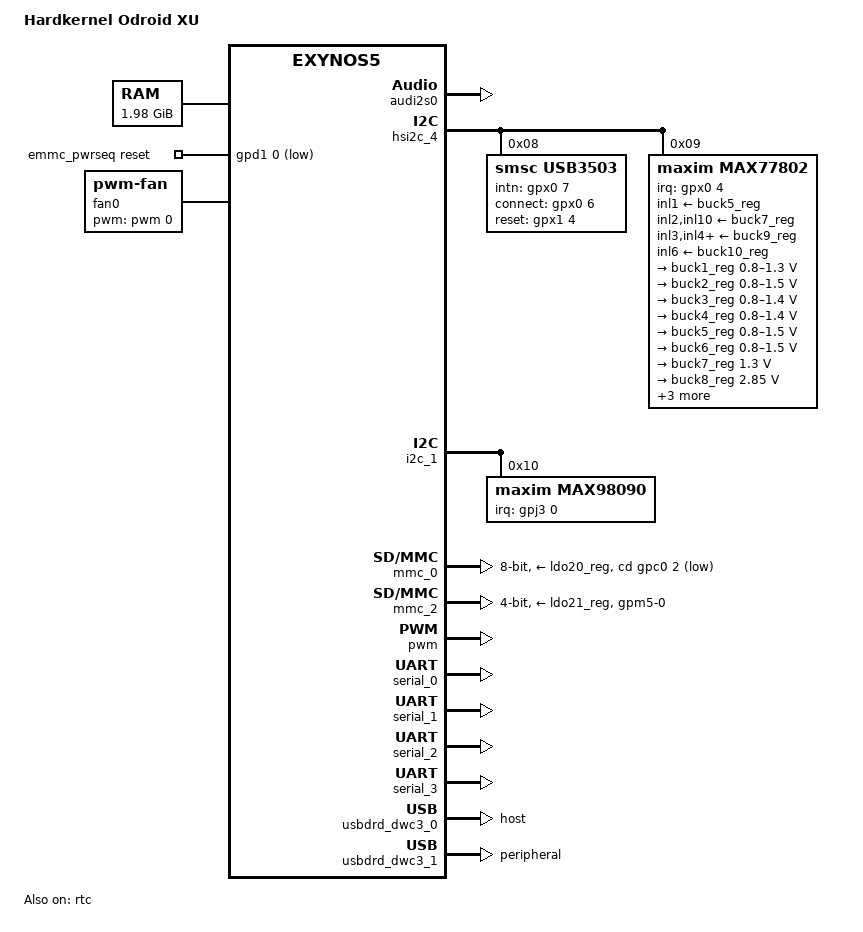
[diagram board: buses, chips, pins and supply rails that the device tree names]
// SPDX-License-Identifier: GPL-2.0
/*
 * Hardkernel Odroid XU board device tree source
 *
 * Copyright (c) 2013 Samsung Electronics Co., Ltd.
 *		http://www.samsung.com
 * Copyright (c) 2016 Krzysztof Kozlowski
 */

/dts-v1/;
#include "exynos5410.dtsi"
#include <dt-bindings/clock/maxim,max77802.h>
#include <dt-bindings/gpio/gpio.h>
#include <dt-bindings/interrupt-controller/irq.h>
#include <dt-bindings/sound/samsung-i2s.h>
#include "exynos54xx-odroidxu-leds.dtsi"

/ {
	model = "Hardkernel Odroid XU";
	compatible = "hardkernel,odroid-xu", "samsung,exynos5410", "samsung,exynos5";

	memory@40000000 {
		device_type = "memory";
		reg = <0x40000000 0x7ea00000>;
	};

	chosen {
		stdout-path = "serial2:115200n8";
	};

	emmc_pwrseq: pwrseq {
		pinctrl-0 = <&emmc_nrst_pin>;
		pinctrl-names = "default";
		compatible = "mmc-pwrseq-emmc";
		reset-gpios = <&gpd1 0 GPIO_ACTIVE_LOW>;
	};

	fan0: pwm-fan {
		compatible = "pwm-fan";
		pwms = <&pwm 0 20972 0>;
		#cooling-cells = <2>;
		cooling-levels = <0 130 170 230>;
	};

	fin_pll: xxti {
		compatible = "fixed-clock";
		clock-frequency = <24000000>;
		clock-output-names = "fin_pll";
		#clock-cells = <0>;
	};

	firmware@2073000 {
		compatible = "samsung,secure-firmware";
		reg = <0x02073000 0x1000>;
	};

	sound: sound {
		compatible = "simple-audio-card";

		simple-audio-card,name = "Odroid-XU";
		simple-audio-card,widgets =
			"Headphone", "Headphone Jack",
			"Speakers", "Speakers";
		simple-audio-card,routing =
			"Headphone Jack", "HPL",
			"Headphone Jack", "HPR",
			"Headphone Jack", "MICBIAS",
			"IN1", "Headphone Jack",
			"Speakers", "SPKL",
			"Speakers", "SPKR";

		simple-audio-card,format = "i2s";
		simple-audio-card,bitclock-master = <&link0_codec>;
		simple-audio-card,frame-master = <&link0_codec>;

		simple-audio-card,cpu {
			sound-dai = <&audi2s0 0>;
			system-clock-frequency = <19200000>;
		};

		link0_codec: simple-audio-card,codec {
			sound-dai = <&max98090>;
			clocks = <&audi2s0 CLK_I2S_CDCLK>;
		};
	};
};

&audi2s0 {
	status = "okay";
};

&clock {
	clocks = <&fin_pll>;
	assigned-clocks = <&clock CLK_FOUT_EPLL>;
	assigned-clock-rates = <192000000>;
};

&clock_audss {
	assigned-clocks = <&clock_audss EXYNOS_MOUT_AUDSS>,
			<&clock_audss EXYNOS_MOUT_I2S>,
			<&clock_audss EXYNOS_DOUT_SRP>,
			<&clock_audss EXYNOS_DOUT_AUD_BUS>;

	assigned-clock-parents = <&clock CLK_FOUT_EPLL>,
			<&clock_audss EXYNOS_MOUT_AUDSS>;

	assigned-clock-rates =  <0>,
				<0>,
				<96000000>,
				<19200000>;
};

&cpu0_thermal {
	thermal-sensors = <&tmu_cpu0 0>;
	polling-delay-passive = <0>;
	polling-delay = <0>;

	trips {
		cpu_alert0: cpu-alert-0 {
			temperature = <50000>; /* millicelsius */
			hysteresis = <5000>; /* millicelsius */
			type = "active";
		};
		cpu_alert1: cpu-alert-1 {
			temperature = <60000>; /* millicelsius */
			hysteresis = <5000>; /* millicelsius */
			type = "active";
		};
		cpu_alert2: cpu-alert-2 {
			temperature = <70000>; /* millicelsius */
			hysteresis = <5000>; /* millicelsius */
			type = "active";
		};
		cpu_crit0: cpu-crit-0 {
			temperature = <120000>; /* millicelsius */
			hysteresis = <0>; /* millicelsius */
			type = "critical";
		};
	};

	cooling-maps {
		map0 {
			trip = <&cpu_alert0>;
			cooling-device = <&fan0 0 1>;
		};
		map1 {
			trip = <&cpu_alert1>;
			cooling-device = <&fan0 1 2>;
		};
		map2 {
			trip = <&cpu_alert2>;
			cooling-device = <&fan0 2 3>;
		};
	};
};

&hsi2c_4 {
	samsung,i2c-sda-delay = <100>;
	samsung,i2c-max-bus-freq = <400000>;
	status = "okay";

	usb3503: usb-hub@8 {
		compatible = "smsc,usb3503";
		reg = <0x08>;

		intn-gpios = <&gpx0 7 GPIO_ACTIVE_HIGH>;
		connect-gpios = <&gpx0 6 GPIO_ACTIVE_HIGH>;
		reset-gpios = <&gpx1 4 GPIO_ACTIVE_HIGH>;
		initial-mode = <1>;

		clock-names = "refclk";
		clocks = <&pmu_system_controller 0>;
		refclk-frequency = <24000000>;
	};

	max77802: pmic@9 {
		compatible = "maxim,max77802";
		reg = <0x9>;
		interrupt-parent = <&gpx0>;
		interrupts = <4 IRQ_TYPE_NONE>;
		pinctrl-names = "default";
		pinctrl-0 = <&max77802_irq>, <&pmic_dvs_1>, <&pmic_dvs_2>,
			    <&pmic_dvs_3>;
		#clock-cells = <1>;

		inl1-supply = <&buck5_reg>;
		inl2-supply = <&buck7_reg>;
		inl3-supply = <&buck9_reg>;
		inl4-supply = <&buck9_reg>;
		inl5-supply = <&buck9_reg>;
		inl6-supply = <&buck10_reg>;
		inl7-supply = <&buck9_reg>;
		/* inl9 supply is BOOST, not configured here */
		inl10-supply = <&buck7_reg>;

		regulators {
			buck1_reg: BUCK1 {
				regulator-name = "vdd_mif";
				regulator-min-microvolt = <800000>;
				regulator-max-microvolt = <1300000>;
				regulator-always-on;
				regulator-boot-on;
			};

			buck2_reg: BUCK2 {
				regulator-name = "vdd_arm";
				regulator-min-microvolt = <800000>;
				regulator-max-microvolt = <1500000>;
				regulator-always-on;
				regulator-boot-on;
			};

			buck3_reg: BUCK3 {
				regulator-name = "vdd_int";
				regulator-min-microvolt = <800000>;
				regulator-max-microvolt = <1400000>;
				regulator-always-on;
				regulator-boot-on;
			};

			buck4_reg: BUCK4 {
				regulator-name = "vdd_g3d";
				regulator-min-microvolt = <800000>;
				regulator-max-microvolt = <1400000>;
				regulator-always-on;
				regulator-boot-on;
			};

			buck5_reg: BUCK5 {
				regulator-name = "vdd_mem";
				regulator-min-microvolt = <800000>;
				regulator-max-microvolt = <1500000>;
				regulator-always-on;
				regulator-boot-on;
			};

			buck6_reg: BUCK6 {
				regulator-name = "vdd_kfc";
				regulator-min-microvolt = <800000>;
				regulator-max-microvolt = <1500000>;
				regulator-always-on;
				regulator-boot-on;
			};

			buck7_reg: BUCK7 {
				regulator-name = "buck7";
				regulator-min-microvolt = <1300000>;
				regulator-max-microvolt = <1300000>;
				regulator-always-on;
				regulator-boot-on;
			};

			buck8_reg: BUCK8 {
				/* vdd_mmc0 */
				regulator-name = "vddf_2v85";
				regulator-min-microvolt = <2850000>;
				regulator-max-microvolt = <2850000>;
				regulator-always-on;
				regulator-boot-on;
			};

			buck9_reg: BUCK9 {
				regulator-name = "buck9";
				regulator-min-microvolt = <3000000>;
				regulator-max-microvolt = <3000000>;
				regulator-always-on;
				regulator-boot-on;
			};

			buck10_reg: BUCK10 {
				regulator-name = "buck10";
				regulator-min-microvolt = <2950000>;
				regulator-max-microvolt = <2950000>;
				regulator-always-on;
				regulator-boot-on;
			};

			ldo1_reg: LDO1 {
				regulator-name = "vdd_alive";
				regulator-min-microvolt = <1000000>;
				regulator-max-microvolt = <1000000>;
				regulator-always-on;
			};

			ldo2_reg: LDO2 {
				regulator-name = "vddq_m1_m2";
				regulator-min-microvolt = <1200000>;
				regulator-max-microvolt = <1200000>;
				regulator-always-on;
			};

			ldo3_reg: LDO3 {
				regulator-name = "vddq_gpio";
				regulator-min-microvolt = <1800000>;
				regulator-max-microvolt = <1800000>;
				regulator-always-on;
			};

			ldo4_reg: LDO4 {
				regulator-name = "vddq_mmc2";
				regulator-min-microvolt = <1800000>;
				regulator-max-microvolt = <3000000>;
				/* Having it off prevents reboot */
				regulator-always-on;
			};

			ldo5_reg: LDO5 {
				regulator-name = "vdd18_hsic";
				regulator-min-microvolt = <1800000>;
				regulator-max-microvolt = <1800000>;
				regulator-always-on;
			};

			ldo6_reg: LDO6 {
				regulator-name = "vdd18_bpll";
				regulator-min-microvolt = <1800000>;
				regulator-max-microvolt = <1800000>;
				regulator-always-on;
			};

			ldo7_reg: LDO7 {
				regulator-name = "vddq_lcd";
				regulator-min-microvolt = <1800000>;
				regulator-max-microvolt = <1800000>;
			};

			ldo8_reg: LDO8 {
				regulator-name = "vdd10_hdmi";
				regulator-min-microvolt = <1000000>;
				regulator-max-microvolt = <1000000>;
				regulator-always-on;
			};

			ldo9_reg: LDO9 {
				regulator-name = "ldo9";
			};

			ldo10_reg: LDO10 {
				regulator-name = "vdd18_mipi";
				regulator-min-microvolt = <1800000>;
				regulator-max-microvolt = <1800000>;
				regulator-always-on;
			};

			ldo11_reg: LDO11 {
				regulator-name = "vddq_mmc01";
				regulator-min-microvolt = <1800000>;
				regulator-max-microvolt = <1800000>;
				/*
				 * Having it off prevents accessing MMC after
				 * reboot with error:
				 * MMC Device 1: Clock OFF has been failed.
				 */
				regulator-always-on;
			};

			ldo12_reg: LDO12 {
				regulator-name = "vdd33_usb3";
				regulator-min-microvolt = <3300000>;
				regulator-max-microvolt = <3300000>;
				regulator-always-on;
			};

			ldo13_reg: LDO13 {
				regulator-name = "vddq_abbg0";
				regulator-min-microvolt = <1800000>;
				regulator-max-microvolt = <1800000>;
				regulator-always-on;
			};

			ldo14_reg: LDO14 {
				regulator-name = "vddq_abbg1";
				regulator-min-microvolt = <1800000>;
				regulator-max-microvolt = <1800000>;
				regulator-always-on;
			};

			ldo15_reg: LDO15 {
				regulator-name = "vdd10_usb3";
				regulator-min-microvolt = <1000000>;
				regulator-max-microvolt = <1000000>;
				regulator-always-on;
			};

			ldo16_reg: LDO16 {
				regulator-name = "ldo16";
			};

			ldo17_reg: LDO17 {
				regulator-name = "cam_sensor_core";
				regulator-min-microvolt = <1200000>;
				regulator-max-microvolt = <1200000>;
			};

			ldo18_reg: LDO18 {
				regulator-name = "ldo18";
				regulator-min-microvolt = <1800000>;
				regulator-max-microvolt = <1800000>;
			};

			ldo19_reg: LDO19 {
				regulator-name = "ldo19";
			};

			ldo20_reg: LDO20 {
				regulator-name = "vdd_mmc0";
				regulator-min-microvolt = <1800000>;
				regulator-max-microvolt = <1800000>;
			};

			ldo21_reg: LDO21 {
				/* vdd_mmc2 */
				regulator-name = "vddf_2v8";
				regulator-min-microvolt = <2850000>;
				regulator-max-microvolt = <2850000>;
			};

			ldo22_reg: LDO22 {
				regulator-name = "ldo22";
			};

			ldo23_reg: LDO23 {
				regulator-name = "dp_p3v3";
				regulator-min-microvolt = <3300000>;
				regulator-max-microvolt = <3300000>;
				regulator-always-on;
			};

			ldo24_reg: LDO24 {
				regulator-name = "cam_af";
				regulator-min-microvolt = <2800000>;
				regulator-max-microvolt = <2800000>;
			};

			ldo25_reg: LDO25 {
				regulator-name = "eth_p3v3";
				regulator-min-microvolt = <3300000>;
				regulator-max-microvolt = <3300000>;
				regulator-always-on;
			};

			ldo26_reg: LDO26 {
				regulator-name = "usb30_extclk";
				regulator-min-microvolt = <3300000>;
				regulator-max-microvolt = <3300000>;
				regulator-always-on;
			};

			ldo27_reg: LDO27 {
				regulator-name = "ldo27";
			};

			ldo28_reg: LDO28 {
				regulator-name = "ldo28";
			};

			ldo29_reg: LDO29 {
				regulator-name = "ldo29";
			};

			ldo30_reg: LDO30 {
				regulator-name = "vddq_e1_e2";
				regulator-min-microvolt = <1200000>;
				regulator-max-microvolt = <1200000>;
				regulator-always-on;
			};

			ldo31_reg: LDO31 {
				regulator-name = "ldo31";
			};

			/* On revisions with ti,ina231 this is sensor VS */
			ldo32_reg: LDO32 {
				regulator-name = "vs_power_meter";
				regulator-min-microvolt = <3300000>;
				regulator-max-microvolt = <3300000>;
			};

			ldo33_reg: LDO33 {
				regulator-name = "ldo33";
			};

			ldo34_reg: LDO34 {
				regulator-name = "ldo34";
			};

			ldo35_reg: LDO35 {
				regulator-name = "ldo35";
			};
		};
	};
};

&i2c_1 {
	status = "okay";
	max98090: max98090@10 {
		compatible = "maxim,max98090";
		reg = <0x10>;
		interrupt-parent = <&gpj3>;
		interrupts = <0 IRQ_TYPE_NONE>;
		clocks = <&audi2s0 CLK_I2S_CDCLK>;
		clock-names = "mclk";
		#sound-dai-cells = <0>;
	};
};

&mmc_0 {
	status = "okay";
	mmc-pwrseq = <&emmc_pwrseq>;
	cd-gpios = <&gpc0 2 GPIO_ACTIVE_LOW>;
	card-detect-delay = <200>;
	samsung,dw-mshc-ciu-div = <3>;
	samsung,dw-mshc-sdr-timing = <0 4>;
	samsung,dw-mshc-ddr-timing = <0 2>;
	pinctrl-names = "default";
	pinctrl-0 = <&sd0_clk &sd0_cmd &sd0_bus1 &sd0_bus4 &sd0_bus8 &sd0_cd>;
	bus-width = <8>;
	cap-mmc-highspeed;
	mmc-hs200-1_8v;
	vmmc-supply = <&ldo20_reg>;
	vqmmc-supply = <&ldo11_reg>;
};

&mmc_2 {
	status = "okay";
	card-detect-delay = <200>;
	samsung,dw-mshc-ciu-div = <3>;
	samsung,dw-mshc-sdr-timing = <0 4>;
	samsung,dw-mshc-ddr-timing = <0 2>;
	pinctrl-names = "default";
	pinctrl-0 = <&sd2_clk &sd2_cmd &sd2_cd &sd2_bus1 &sd2_bus4 &sd2_wp>;
	bus-width = <4>;
	cap-sd-highspeed;
	vmmc-supply = <&ldo21_reg>;
	vqmmc-supply = <&ldo4_reg>;
};

&pinctrl_0 {
	emmc_nrst_pin: emmc-nrst {
		samsung,pins = "gpd1-0";
		samsung,pin-function = <EXYNOS_PIN_FUNC_2>;
		samsung,pin-pud = <EXYNOS_PIN_PULL_NONE>;
		samsung,pin-drv = <EXYNOS5420_PIN_DRV_LV1>;
	};

	sd2_wp: sd2-wp {
		samsung,pins = "gpm5-0";
		samsung,pin-function = <EXYNOS_PIN_FUNC_2>;
		/* Pin is floating so be sure to disable write-protect */
		samsung,pin-pud = <EXYNOS_PIN_PULL_DOWN>;
		samsung,pin-drv = <EXYNOS5420_PIN_DRV_LV4>;
	};

	pmic_dvs_3: pmic-dvs-3 {
		samsung,pins = "gpx0-0";
		samsung,pin-function = <EXYNOS_PIN_FUNC_OUTPUT>;
		samsung,pin-pud = <EXYNOS_PIN_PULL_NONE>;
		samsung,pin-drv = <EXYNOS5420_PIN_DRV_LV1>;
	};

	pmic_dvs_2: pmic-dvs-2 {
		samsung,pins = "gpx0-1";
		samsung,pin-function = <EXYNOS_PIN_FUNC_OUTPUT>;
		samsung,pin-pud = <EXYNOS_PIN_PULL_NONE>;
		samsung,pin-drv = <EXYNOS5420_PIN_DRV_LV1>;
	};

	pmic_dvs_1: pmic-dvs-1 {
		samsung,pins = "gpx0-2";
		samsung,pin-function = <EXYNOS_PIN_FUNC_OUTPUT>;
		samsung,pin-pud = <EXYNOS_PIN_PULL_NONE>;
		samsung,pin-drv = <EXYNOS5420_PIN_DRV_LV1>;
		samsung,pin-val = <1>;
	};

	max77802_irq: max77802-irq {
		samsung,pins = "gpx0-4";
		samsung,pin-function = <EXYNOS_PIN_FUNC_F>;
		samsung,pin-pud = <EXYNOS_PIN_PULL_NONE>;
		samsung,pin-drv = <EXYNOS5420_PIN_DRV_LV1>;
	};
};

&pwm {
	/*
	 * PWM 0 -- fan
	 * PWM 1 -- Green LED
	 * PWM 2 -- Blue LED
	 * PWM 3 -- on MIPI connector for backlight
	 */
	pinctrl-0 = <&pwm0_out &pwm1_out &pwm2_out &pwm3_out>;
	pinctrl-names = "default";
	status = "okay";
};

&rtc {
	status = "okay";
	clocks = <&clock CLK_RTC>, <&max77802 MAX77802_CLK_32K_AP>;
	clock-names = "rtc", "rtc_src";
};

&serial_0 {
	status = "okay";
};

&serial_1 {
	status = "okay";
};

&serial_2 {
	status = "okay";
};

&serial_3 {
	status = "okay";
};

&tmu_cpu0 {
	vtmu-supply = <&ldo10_reg>;
};

&tmu_cpu1 {
	vtmu-supply = <&ldo10_reg>;
};

&tmu_cpu2 {
	vtmu-supply = <&ldo10_reg>;
};

&tmu_cpu3 {
	vtmu-supply = <&ldo10_reg>;
};

&usbdrd_dwc3_0 {
	dr_mode = "host";
};

&usbdrd_dwc3_1 {
	dr_mode = "peripheral";
};

&usbdrd3_0 {
	vdd33-supply = <&ldo12_reg>;
	vdd10-supply = <&ldo15_reg>;
};

&usbdrd3_1 {
	vdd33-supply = <&ldo12_reg>;
	vdd10-supply = <&ldo15_reg>;
};
